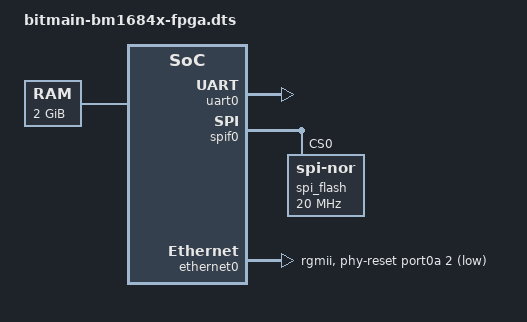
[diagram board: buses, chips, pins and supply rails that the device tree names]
/dts-v1/;

#include <dt-bindings/interrupt-controller/arm-gic.h>
#include <dt-bindings/gpio/gpio.h>

/ {
	compatible = "linux,dummy-virt";
	#size-cells = <0x2>;
	#address-cells = <0x2>;
	interrupt-parent = <&gic>;

	gic: interrupt-controller {
		compatible = "arm,cortex-a15-gic";
		ranges;
		#size-cells = <0x2>;
		#address-cells = <0x2>;
		interrupt-controller;
		#interrupt-cells = <0x3>;
		reg = <0x0 0x50001000 0x0 0x1000>,
		      <0x0 0x50002000 0x0 0x2000>;
	};

	psci {
		migrate = <0xc4000005>;
		cpu_on = <0xc4000003>;
		cpu_off = <0x84000002>;
		cpu_suspend = <0xc4000001>;
		sys_poweroff = <0x84000008>;
		sys_reset = <0x84000009>;
		method = "smc";
		compatible = "arm,psci-0.2", "arm,psci";
	};

	cpus {
		#size-cells = <0x0>;
		#address-cells = <0x1>;
		cpu-map {
			cluster0 {
				core0 {
					cpu = <&cpu0>;
				};
				core1 {
					cpu = <&cpu1>;
				};
				core2 {
					cpu = <&cpu2>;
				};
				core3 {
					cpu = <&cpu3>;
				};
		    };
			cluster1 {
				core0 {
					cpu = <&cpu4>;
				};
				core1 {
					cpu = <&cpu5>;
				};
				core2 {
					cpu = <&cpu6>;
				};
				core3 {
					cpu = <&cpu7>;
				};
			};
		};

		cpu0: cpu@0 {
			reg = <0x0>;
			enable-method = "psci";
			compatible = "arm,cortex-a53";
			device_type = "cpu";
		};

		cpu1: cpu@1 {
			reg = <0x1>;
			enable-method = "psci";
			compatible = "arm,cortex-a53";
			device_type = "cpu";
		};

		cpu2: cpu@2 {
			reg = <0x2>;
			enable-method = "psci";
			compatible = "arm,cortex-a53";
			device_type = "cpu";
		};

		cpu3: cpu@3 {
			reg = <0x3>;
			enable-method = "psci";
			compatible = "arm,cortex-a53";
			device_type = "cpu";
		};

		cpu4: cpu@100 {
			reg = <0x100>;
			enable-method = "psci";
			compatible = "arm,cortex-a53";
			device_type = "cpu";
		};

		cpu5: cpu@101 {
			reg = <0x101>;
			enable-method = "psci";
			compatible = "arm,cortex-a53";
			device_type = "cpu";
		};

		cpu6: cpu@102 {
			reg = <0x102>;
			enable-method = "psci";
			compatible = "arm,cortex-a53";
			device_type = "cpu";
		};

		cpu7: cpu@103 {
			reg = <0x103>;
			enable-method = "psci";
			compatible = "arm,cortex-a53";
			device_type = "cpu";
		};
	};

	timer {
		interrupts = <GIC_PPI 13 (GIC_CPU_MASK_SIMPLE(8) | IRQ_TYPE_LEVEL_LOW)>,
			<GIC_PPI 14 (GIC_CPU_MASK_SIMPLE(8) | IRQ_TYPE_LEVEL_LOW)>,
			<GIC_PPI 11 (GIC_CPU_MASK_SIMPLE(8) | IRQ_TYPE_LEVEL_LOW)>,
			<GIC_PPI 10 (GIC_CPU_MASK_SIMPLE(8) | IRQ_TYPE_LEVEL_LOW)>;
		always-on;
		compatible = "arm,armv8-timer";
	};

	apb_pclk {
		phandle = <0x8000>;
		clock-output-names = "clk24mhz";
		clock-frequency = <0x16e3600>;
		#clock-cells = <0x0>;
		compatible = "fixed-clock";
	};

	memory {
		reg = <0x4 0x00000000 0x0 0x80000000>;
		device_type = "memory";
	};

	uart0: serial@50118000 {
		compatible = "snps,dw-apb-uart";
		reg = <0x0 0x50118000 0x0 0x1000>;
		clock-frequency = <25000000>;
		interrupts = <GIC_SPI 1 IRQ_TYPE_LEVEL_HIGH>;
		reg-shift = <2>;
		reg-io-width = <4>;
	};

	aliases {
		serial0 = &uart0;
		spi0 = &spif0;
	};

	chosen {
		stdout-path = "serial0"; // "serial0:115200n8", no arguments means no re-initialization
	};

	spif0: spi@6000000 {
		compatible = "bitmain,spif";
		reg = <0x0 0x6000000 0x0 0x1000>;
		status = "okay";
		#address-cells = <1>;
		#size-cells = <0>;

		spi_flash: spiflash@0 {
			compatible = "jedec,spi-nor";
			spi-max-frequency = <20000000>;
			reg = <0>;
		};
	};

	gpio: gpio@50027000 {
		compatible = "snps,dw-apb-gpio";
		reg = <0x0 0x50027000 0x0 0x1000>;
		#address-cells = <1>;
		#size-cells = <0>;

		port0a: gpio-controller@0 {
			compatible = "snps,dw-apb-gpio-port";
			bank-name = "port0a";
			gpio-controller;
			#gpio-cells = <2>;
			snps,nr-gpios = <32>;
			reg = <0>;
			interrupt-controller;
			interrupts = <GIC_SPI 68 IRQ_TYPE_LEVEL_HIGH>;
		};
	};

	ethernet0: ethernet@50108000 {
		compatible = "nvidia,tegra186-eqos", "snps,dwc-qos-ethernet-4.10";
		reg = <0x0 0x50108000  0x0 0x4000>;
		reg-names = "mac";
		phy-mode = "rgmii";
		phy-reset-gpios = <&port0a 2 GPIO_ACTIVE_HIGH>;
	};
};
